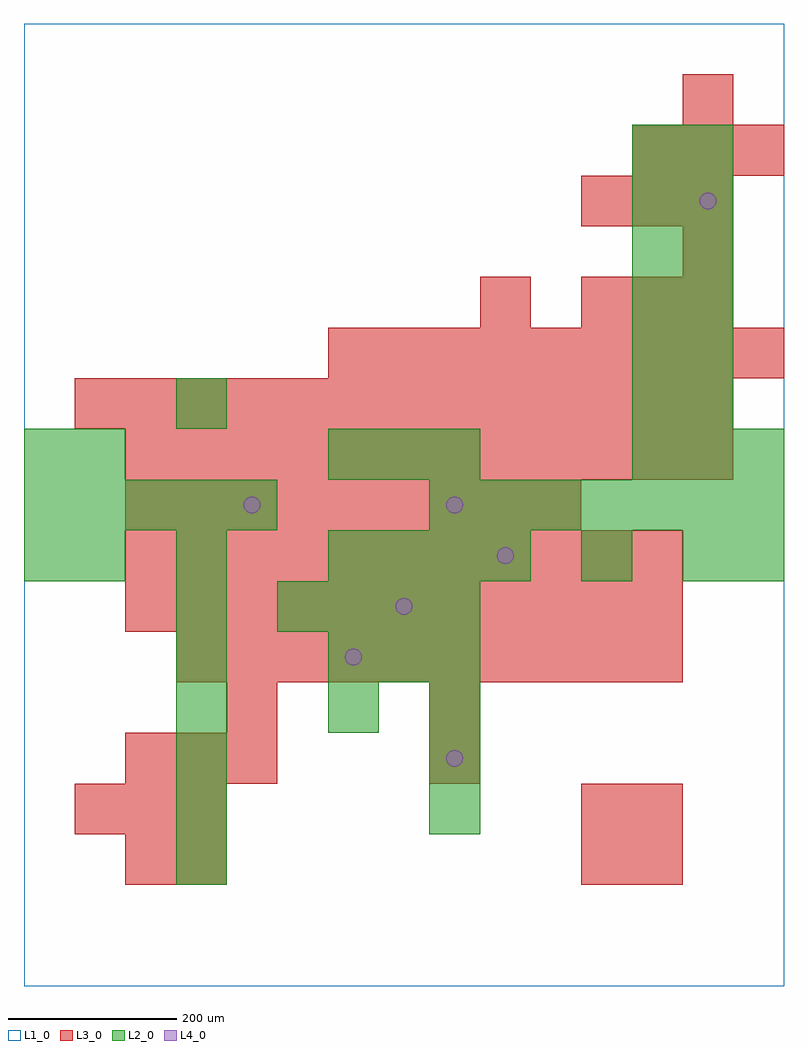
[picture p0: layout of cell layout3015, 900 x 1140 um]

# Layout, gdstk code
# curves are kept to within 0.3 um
import gdstk
lib = gdstk.Library(unit=1e-6, precision=1e-09)
def R(c, l, rs):  # rectangles x0, y0, x1, y1
    for r in rs: c.add(gdstk.rectangle(r[:2], r[2:], *l))
def A(c, l, x, y, w, h, nx, ny, dx, dy):  # array of equal rectangles
    R(c, l, [(x+i*dx, y+j*dy, x+i*dx+w, y+j*dy+h) for i in range(nx) for j in range(ny)])
def P(c, l, *ps):  # polygons
    for p in ps: c.add(gdstk.Polygon(p, *l))
L1_0 = (1, 0)
L2_0 = (2, 0)
L3_0 = (3, 0)
L4_0 = (4, 0)

layout3015 = lib.new_cell('layout3015')
R(layout3015, L1_0, [(0,0,900,1140)])
A(layout3015, L2_0, 180, 120, 60, 60, 1, 7, 0, 60)
A(layout3015, L2_0, 480, 180, 60, 60, 1, 3, 0, 60)
A(layout3015, L2_0, 360, 360, 60, 60, 3, 2, 60, 240)
A(layout3015, L2_0, 300, 420, 60, 60, 4, 1, 60, 0)
A(layout3015, L2_0, 360, 480, 60, 60, 4, 1, 60, 0)
A(layout3015, L2_0, 0, 540, 60, 60, 5, 1, 60, 0)
A(layout3015, L2_0, 480, 540, 60, 60, 7, 1, 60, 0)
A(layout3015, L2_0, 720, 600, 60, 60, 3, 1, 60, 0)
A(layout3015, L2_0, 720, 660, 60, 60, 1, 6, 0, 60)
A(layout3015, L2_0, 780, 660, 60, 60, 1, 6, 0, 60)
R(layout3015, L2_0, [(360,300,420,360), (0,480,60,540), (60,480,120,540), (660,480,720,540), (780,480,840,540), (840,480,900,540), (0,600,60,660), (60,600,120,660), (180,660,240,720)])
A(layout3015, L3_0, 60, 180, 60, 60, 3, 1, 60, 0)
A(layout3015, L3_0, 120, 240, 60, 60, 3, 1, 60, 0)
A(layout3015, L3_0, 180, 360, 60, 60, 10, 1, 60, 0)
A(layout3015, L3_0, 120, 420, 60, 60, 11, 2, 60, 60)
A(layout3015, L3_0, 120, 540, 60, 60, 9, 1, 60, 0)
A(layout3015, L3_0, 120, 600, 60, 60, 12, 1, 60, 0)
A(layout3015, L3_0, 60, 660, 60, 60, 13, 1, 60, 0)
A(layout3015, L3_0, 360, 720, 60, 60, 9, 1, 60, 0)
A(layout3015, L3_0, 660, 780, 60, 60, 3, 2, 60, 120)
A(layout3015, L3_0, 720, 960, 60, 60, 3, 1, 60, 0)
R(layout3015, L3_0, [(120,120,180,180), (180,120,240,180), (660,120,720,180), (720,120,780,180), (660,180,720,240), (720,180,780,240), (480,240,540,300), (240,300,300,360), (480,300,540,360), (540,780,600,840), (780,840,840,900), (780,1020,840,1080)])
P(layout3015, L4_0, [(280,570),(279.239,573.827),(277.071,577.071),(273.827,579.239),(270,580),(266.173,579.239),(262.929,577.071),(260.761,573.827),(260,570),(260.761,566.173),(262.929,562.929),(266.173,560.761),(270,560),(273.827,560.761),(277.071,562.929),(279.239,566.173)],
  [(400,390),(399.239,393.827),(397.071,397.071),(393.827,399.239),(390,400),(386.173,399.239),(382.929,397.071),(380.761,393.827),(380,390),(380.761,386.173),(382.929,382.929),(386.173,380.761),(390,380),(393.827,380.761),(397.071,382.929),(399.239,386.173)],
  [(460,450),(459.239,453.827),(457.071,457.071),(453.827,459.239),(450,460),(446.173,459.239),(442.929,457.071),(440.761,453.827),(440,450),(440.761,446.173),(442.929,442.929),(446.173,440.761),(450,440),(453.827,440.761),(457.071,442.929),(459.239,446.173)],
  [(520,270),(519.239,273.827),(517.071,277.071),(513.827,279.239),(510,280),(506.173,279.239),(502.929,277.071),(500.761,273.827),(500,270),(500.761,266.173),(502.929,262.929),(506.173,260.761),(510,260),(513.827,260.761),(517.071,262.929),(519.239,266.173)],
  [(520,570),(519.239,573.827),(517.071,577.071),(513.827,579.239),(510,580),(506.173,579.239),(502.929,577.071),(500.761,573.827),(500,570),(500.761,566.173),(502.929,562.929),(506.173,560.761),(510,560),(513.827,560.761),(517.071,562.929),(519.239,566.173)],
  [(580,510),(579.239,513.827),(577.071,517.071),(573.827,519.239),(570,520),(566.173,519.239),(562.929,517.071),(560.761,513.827),(560,510),(560.761,506.173),(562.929,502.929),(566.173,500.761),(570,500),(573.827,500.761),(577.071,502.929),(579.239,506.173)],
  [(820,930),(819.239,933.827),(817.071,937.071),(813.827,939.239),(810,940),(806.173,939.239),(802.929,937.071),(800.761,933.827),(800,930),(800.761,926.173),(802.929,922.929),(806.173,920.761),(810,920),(813.827,920.761),(817.071,922.929),(819.239,926.173)])

lib.write_gds('layout3015.gds')
